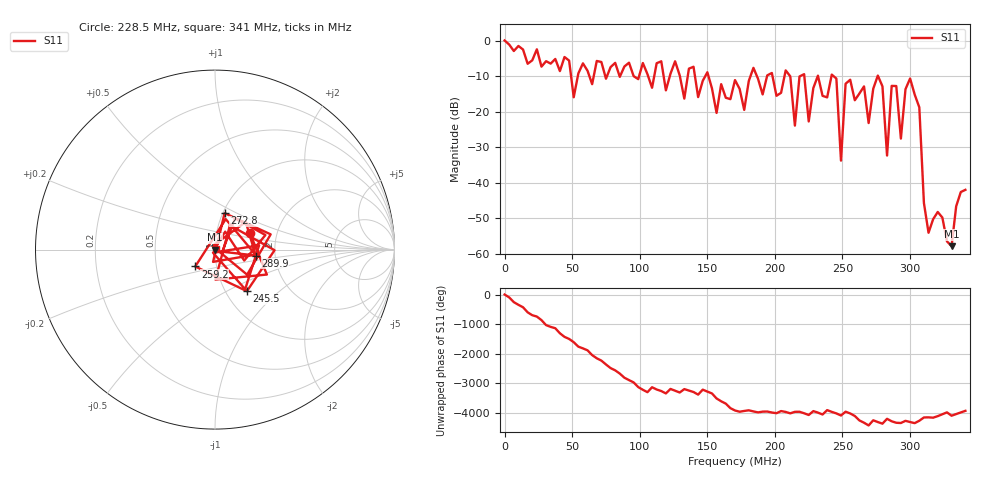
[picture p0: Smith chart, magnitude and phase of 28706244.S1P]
!File created by NanoVNA
# Hz S RI R 50
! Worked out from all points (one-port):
!   101 points, 50 kHz to 341 MHz, reference 50 ohm
!   lowest |S11| = -57.8 dB at 330.8 MHz (marker M1), VSWR 1.00, Z = 49.9 - j0.0986 ohm
!   |S11| at or under -10 dB: 150.9 MHz to 182 MHz (31.12 MHz wide, 18.7 % of centre); 243.4 MHz to 276.1 MHz (32.67 MHz wide, 12.6 % of centre); 276.4 MHz to end of sweep (the widest 3 of 17)
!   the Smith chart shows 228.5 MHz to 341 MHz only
!   S11 on the Smith chart (normalised r, x): 228.5 MHz: 1.45, +0.28; 245.5 MHz: 1.25, -0.63; 259.2 MHz: 0.79, -0.15; 272.8 MHz: 1.02, +0.43; 289.9 MHz: 1.58, -0.11; 341 MHz: 1.01, +0.01
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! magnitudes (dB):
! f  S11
! 50 kHz  0.0
! 44.37 MHz  -4.6
! 51.19 MHz  -15.9
! 85.29 MHz  -10.2
! 129.6 MHz  -9.8
! 156.9 MHz  -20.3
! 170.5 MHz  -11.1
! 208 MHz  -8.4
! 214.8 MHz  -23.9
! 218.3 MHz  -10.1
! 225.1 MHz  -22.7
! 228.5 MHz  -13.3
! 245.5 MHz  -10.7
! 248.9 MHz  -33.7
! 252.4 MHz  -12.2
! 255.8 MHz  -11.0
! 259.2 MHz  -16.8
! 272.8 MHz  -13.6
! 279.6 MHz  -12.9
! 283 MHz  -32.3
! 286.4 MHz  -12.8
! 289.9 MHz  -12.8
! 293.3 MHz  -27.6
! 300.1 MHz  -10.7
! 306.9 MHz  -18.8
! 313.7 MHz  -54.0
! 330.8 MHz  -57.8
! 341 MHz  -41.9
